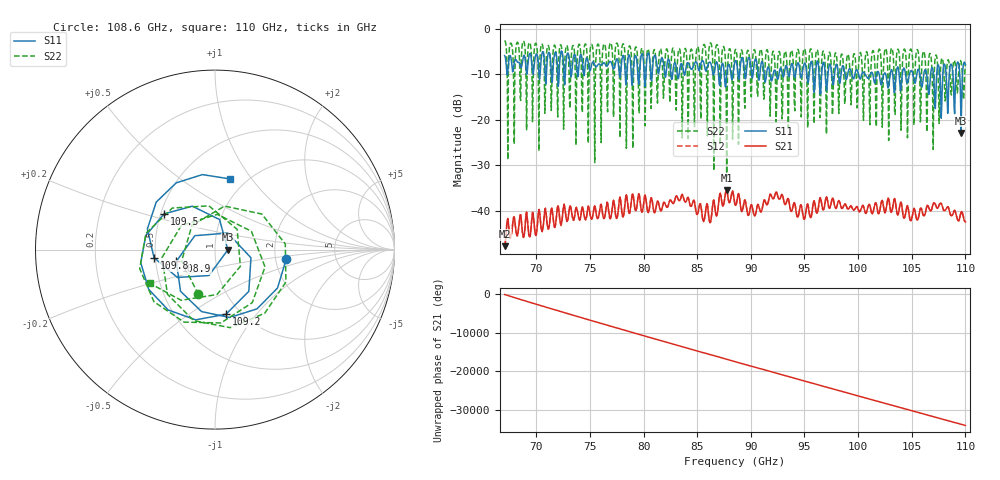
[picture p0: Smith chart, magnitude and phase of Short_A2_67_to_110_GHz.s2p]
#  HZ  S  MA  R  50.00
! Rohde & Schwarz ZVA67 4Ports - Version 4.11 - 1305.7002k04 SN: 101051
! Date: 2023-09-13 16:03:02
! Measurements: S11 S21 S12 S22
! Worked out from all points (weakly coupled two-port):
!   860 points, 67.05 GHz to 110 GHz, reference 50 ohm
!   highest |S21| = -35.49 dB at 87.75 GHz (marker M1); lowest = -47.8 dB at 67.1 GHz (marker M2)
!   lowest |S11| = -22.9 dB at 109.6 GHz (marker M3), VSWR 1.15, Z = 57.7 - j0.148 ohm
!   |S11| at or under -10 dB: 100.6447 GHz to 101.133 GHz (488.3 MHz wide, 0.484 % of centre); 101.9608 GHz to 102.4009 GHz (440.1 MHz wide, 0.431 % of centre); 102.5738 GHz to 102.9964 GHz (422.6 MHz wide, 0.411 % of centre) (the widest 3 of 58)
!   |S22| runs from -32.7 to -2.6 dB; largest |S21 - S12| = 0.0022
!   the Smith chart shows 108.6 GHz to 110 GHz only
!   S11 on the Smith chart (normalised r, x): 108.6 GHz: 2.29, -0.29; 108.9 GHz: 0.64, -0.09; 109.2 GHz: 0.86, -0.71; 109.5 GHz: 0.52, +0.24; 109.8 GHz: 0.49, -0.05; 110 GHz: 0.84, +0.79
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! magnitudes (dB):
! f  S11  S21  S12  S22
! 67.05 GHz  -5.9  -47.6  -47.4  -2.6
! 67.1 GHz  -6.1  -47.8  -47.0  -2.7
! 67.35 GHz  -9.4  -41.7  -41.9  -28.8
! 68.8 GHz  -6.2  -45.9  -45.8  -2.7
! 74.25 GHz  -6.3  -39.4  -39.4  -16.2
! 77.5 GHz  -6.6  -41.7  -41.7  -3.1
! 81.4 GHz  -9.8  -38.3  -38.3  -7.8
! 85.95 GHz  -8.3  -38.7  -38.6  -23.6
! 86.25 GHz  -7.5  -42.5  -42.5  -3.1
! 86.45 GHz  -9.8  -38.7  -38.6  -7.1
! 86.85 GHz  -7.4  -40.9  -40.9  -3.5
! 87.75 GHz  -10.2  -35.5  -35.4  -32.7
! 88.55 GHz  -7.1  -38.8  -38.8  -4.6
! 95.7 GHz  -7.5  -40.4  -40.4  -5.4
! 102.8 GHz  -12.6  -37.3  -37.4  -24.6
! 108.6 GHz  -7.9  -40.9  -40.7  -11.5
! 108.9 GHz  -12.9  -40.3  -40.3  -7.2
! 109.2 GHz  -8.7  -41.0  -41.0  -10.5
! 109.5 GHz  -9.2  -41.8  -41.7  -7.7
! 109.6 GHz  -22.9  -40.3  -40.3  -7.3
! 109.8 GHz  -9.3  -40.8  -40.7  -12.2
! 110 GHz  -7.9  -42.5  -42.4  -7.8
